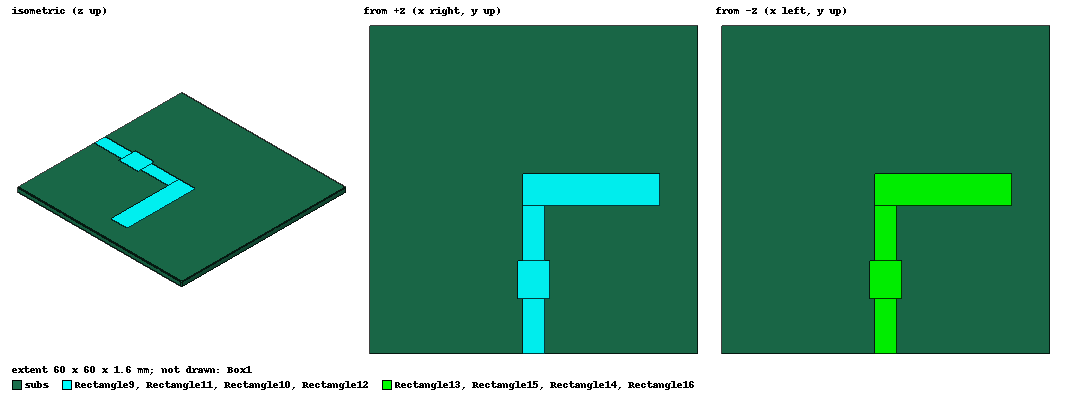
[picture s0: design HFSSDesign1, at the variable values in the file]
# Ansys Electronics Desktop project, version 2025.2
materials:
  vacuum: permittivity=1
  FR4_epoxy: permittivity=4.4 dielectric_loss_tangent=0.02
  air: permittivity=1.0006 permeability=1.0000004

design HFSSDesign1 (HFSS, HFSS Terminal Network, model units mm)
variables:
  h = 1.6mm
  larm = 25mm
  warm = 6mm
  wfeed = 4mm
  lfeed = 10mm
  lgap = 7mm
  wgap = 6mm
  lsub = 60mm
  wsub = 60mm
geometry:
  subs [FR4_epoxy] = box(corner=(-lsub/2, -wsub/2, 0mm), size=(lsub, wsub, h))
  Port = rectangle(corner=(-2mm, -30mm, 0mm), z_size=1.6mm, x_size=4mm)
  Box1 [air] = box(corner=(-75mm, -75mm, -50mm), size=(150mm, 150mm, 100mm))
  Rectangle9 = rectangle(corner=(-wfeed/2, warm/2, h), x_size=larm, y_size=-warm)
  Rectangle10 = rectangle(corner=(-wfeed/2, -warm/2, h), x_size=wfeed, y_size=-lfeed)
  Rectangle11 = rectangle(corner=(wgap/2, -(lfeed+warm/2), h), x_size=-wgap, y_size=-lgap)
  Rectangle12 = rectangle(corner=(-wfeed/2, -(warm/2+lfeed+lgap), h), x_size=wfeed, y_size=-lfeed)
  Rectangle13 = rectangle(corner=(wfeed/2, -warm/2, 0mm), x_size=-larm, y_size=warm)
  Rectangle14 = rectangle(corner=(-wfeed/2, -warm/2, 0), x_size=wfeed, y_size=-lfeed)
  Rectangle15 = rectangle(corner=(wgap/2, -(lfeed+warm/2), 0mm), x_size=-wgap, y_size=-lgap)
  Rectangle16 = rectangle(corner=(-wfeed/2, -(warm/2+lfeed+lgap), 0mm), x_size=wfeed, y_size=-lfeed)
  group topface = Rectangle9..Rectangle12
  group bottomface = Rectangle13..Rectangle16
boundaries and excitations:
  Rad1: Radiation Objects=Box1
  PerfE1: Perfect E Objects=[Rectangle13..Rectangle16]
  PerfE2: Perfect E Objects=[Rectangle9..Rectangle12]
  1: Lumped Port Objects=Port LumpedPortType=Modal Modes{Mode1{IntLine{(0, -30, 0) -> (0, -30, 1.6)} CharImp=Zpi RenormImp=50ohm}} Impedance=50ohm
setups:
  Setup1: HfssDriven Frequency=2.4GHz MaxDeltaS=0.02 MaximumPasses=6 MinimumPasses=1 MinimumConvergedPasses=1 PercentRefinement=30 BasisOrder=1 PortAccuracy=2 DrivenSolverType="Direct Solver"
    sweep Sweep: 1.2GHz to 7GHz, 101 points; Type=Fast SaveFields
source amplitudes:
  1:1: 1V 0deg
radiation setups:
  Infinite Sphere1: Infinite Sphere Theta=0deg..360deg step 2deg Phi=-180deg..180deg step 2deg
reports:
  S Parameter Plot1: dB(S(1,1)) vs Freq on Setup1 : Sweep; markers MX1 at x=2.3979798e+09, MY1 at y=-10.0988
  Directivity Plot1: dB(DirTotal) vs Phi, Theta on Setup1 : LastAdaptive, Infinite Sphere1 [Freq=2.4GHz]
